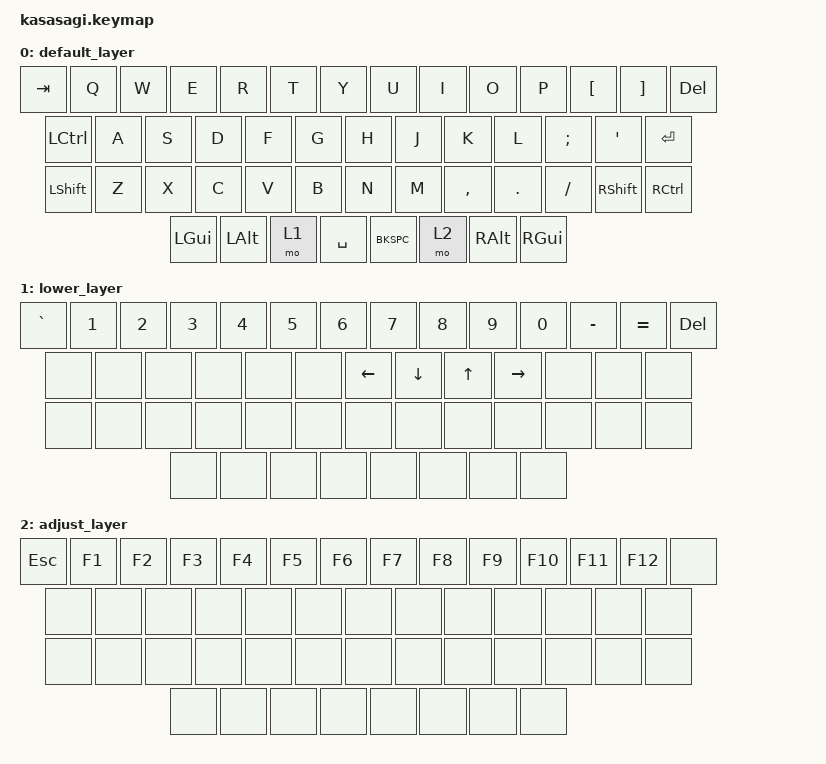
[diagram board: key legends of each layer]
// Copyright (c) 2025 The ZMK Contributors
// SPDX-License-Identifier: MIT

#include <behaviors.dtsi>
#include <dt-bindings/zmk/keys.h>
#include <dt-bindings/zmk/bt.h>
#include <dt-bindings/zmk/rgb.h>

        //╭────────┬───────┬───────┬───────┬───────┬───────┬───────┬───────┬───────┬───────┬───────┬───────┬───────┬───────╮
        //│  TAB   │  Q    │  W    │  E    │  R    │  T    │  Y    │  U    │  I    │  O    │  P    │  [    │  ]    │ BKSPC │
        //├────────┴──┬────┴──┬────┴──┬────┴──┬────┴──┬────┴──┬────┴──┬────┴──┬────┴──┬────┴──┬────┴──┬────┴──┬────┴───────┤
        //│  CTRL     │  A    │  S    │  D    │  F    │  G    │  H    │  J    │  K    │  L    │ ; :   │ ' "   │  ENTER     │
        //├───────────┴──┬────┴──┬────┴──┬────┴──┬────┴──┬────┴──┬────┴──┬────┴──┬────┴──┬────┴──┬────┴──┬────┴────┬───────┤
        //│  SHIFT       │  Z    │  X    │  C    │  V    │  B    │  N    │  M    │ , <   │ . >   │ / ?   │ SHIFT   │ CTRL  │
        //╰───────────┬──┴────┬──┴─────┬─┴─────┬─┴───────┴─────┬─┴───────┴───────┴───┬───┴───┬───┴────┬──┴────┬────┴───────╯
        //            │       │        │       │               │                     │       │        │       │
        //            ╰───────┴────────┴───────┴───────────────┴─────────────────────┴───────┴────────┴───────╯

/ {

    keymap {
        compatible = "zmk,keymap";
        default_layer {
            bindings = <
             &kp TAB      &kp Q      &kp W      &kp E      &kp R      &kp T      &kp Y      &kp U      &kp I      &kp O      &kp P      &kp LBKT   &kp RBKT   &kp DEL
             &kp LCTRL       &kp A      &kp S      &kp D      &kp F      &kp G      &kp H      &kp J      &kp K      &kp L     &kp SEMI   &kp SQT     &kp ENTER
             &kp LSHIFT         &kp Z      &kp X      &kp C      &kp V      &kp B      &kp N      &kp M     &kp COMMA  &kp DOT    &kp FSLH   &kp RSHIFT      &kp RCTRL
                         &kp LGUI   &kp LALT        &mo 1          &kp SPACE               &kp BKSPC              &mo 2      &kp RALT     &kp RGUI
            >;
        };

        lower_layer {
            bindings = <
            &kp GRAVE      &kp N1     &kp N2     &kp N3     &kp N4     &kp N5     &kp N6     &kp N7     &kp N8     &kp N9     &kp N0   &kp MINUS  &kp EQUAL   &kp DEL
             &none           &none      &none      &none      &none      &none     &kp LEFT   &kp DOWN    &kp UP    &kp RIGHT   &none      &none      &none
             &none              &none      &none      &none      &none      &none      &none      &none     &none      &none      &none      &none           &none 
                          &none       &none        &none            &none                      &none               &none       &none       &none
            >;
        };

        adjust_layer {
            bindings = <
             &kp ESC      &kp F1     &kp F2     &kp F3     &kp F4     &kp F5     &kp F6     &kp F7     &kp F8     &kp F9     &kp F10    &kp F11    &kp F12    &none
             &none           &none      &none      &none      &none      &none      &none      &none      &none      &none     &none      &none       &none
             &none              &none      &none      &none      &none      &none      &none      &none     &none      &none      &none      &none           &none
                          &none       &none        &none            &none                      &none               &none       &none       &none
            >;
        };
    };
};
